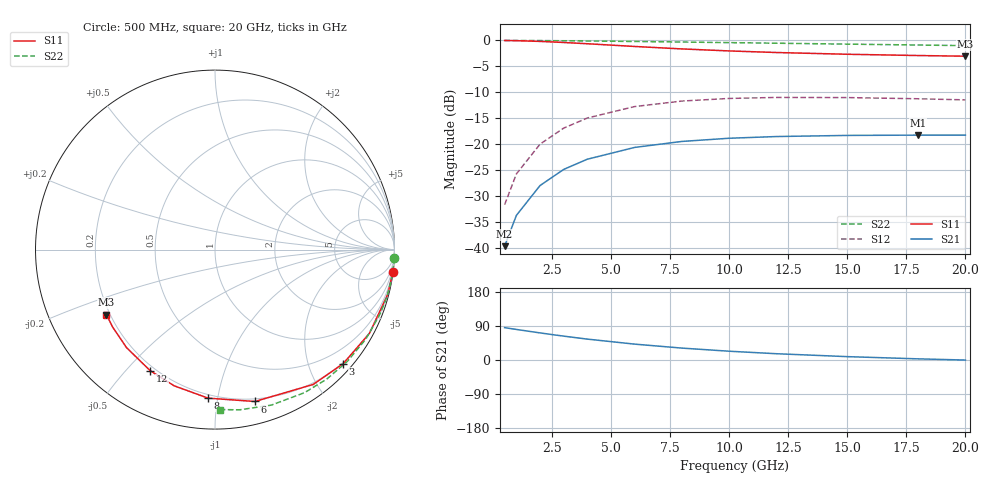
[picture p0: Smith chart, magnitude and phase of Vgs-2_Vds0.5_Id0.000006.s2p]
# Hz S RI R 50
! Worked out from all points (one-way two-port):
!   12 points, 500 MHz to 20 GHz, reference 50 ohm
!   highest |S21| = -18.27 dB at 18 GHz (marker M1); lowest = -39.7 dB at 500 MHz (marker M2)
!   lowest |S11| = -3.0 dB at 20 GHz (marker M3), VSWR 5.77, Z = 9.31 - j13.4 ohm
!   |S11| at or under -10 dB: nowhere
!   |S22| runs from -1.0 to 0.0 dB; largest |S21 - S12| = 0.17
!   S11 on the Smith chart (normalised r, x): 500 MHz: 0, -16; 3 GHz: 0.18, -2.62; 6 GHz: 0.18, -1.28; 8 GHz: 0.18, -0.94; 12 GHz: 0.18, -0.58; 20 GHz: 0.19, -0.27
5e8  0.9906 -0.1258  0.000831 0.0103  0.00244 0.0259  0.9987 -0.046
1e9  0.9631 -0.2477  0.00334 0.0203  0.0096 0.0507  0.9949 -0.0918
2e9  0.8608 -0.466  0.0126 0.0377  0.036 0.0931  0.9799 -0.1818
3e9  0.7141 -0.6357  0.0259 0.0507  0.0733 0.1223  0.956 -0.2681
4e9  0.5468 -0.7515  0.0408 0.0586  0.1147 0.1366  0.924 -0.3503
6e9  0.222 -0.8463  0.0691 0.062  0.1903 0.1293  0.8409 -0.4979
8e9  -0.0384 -0.8275  0.0905 0.0553  0.2424 0.0942  0.7378 -0.6225
1e10  -0.2277 -0.7588  0.1046 0.0448  0.2709 0.0505  0.6222 -0.7218
1.2e10  -0.3615 -0.6741  0.1133 0.0337  0.2817 0.00792  0.4997 -0.7966
1.5e10  -0.4923 -0.5466  0.1197 0.0187  0.2772 -0.0462  0.3136 -0.8665
1.8e10  -0.5707 -0.431  0.1218 0.00645  0.2596 -0.0867  0.1362 -0.8928
2e10  -0.6046 -0.3618  0.1219 -0.000299  0.2446 -0.1069  0.0263 -0.891
